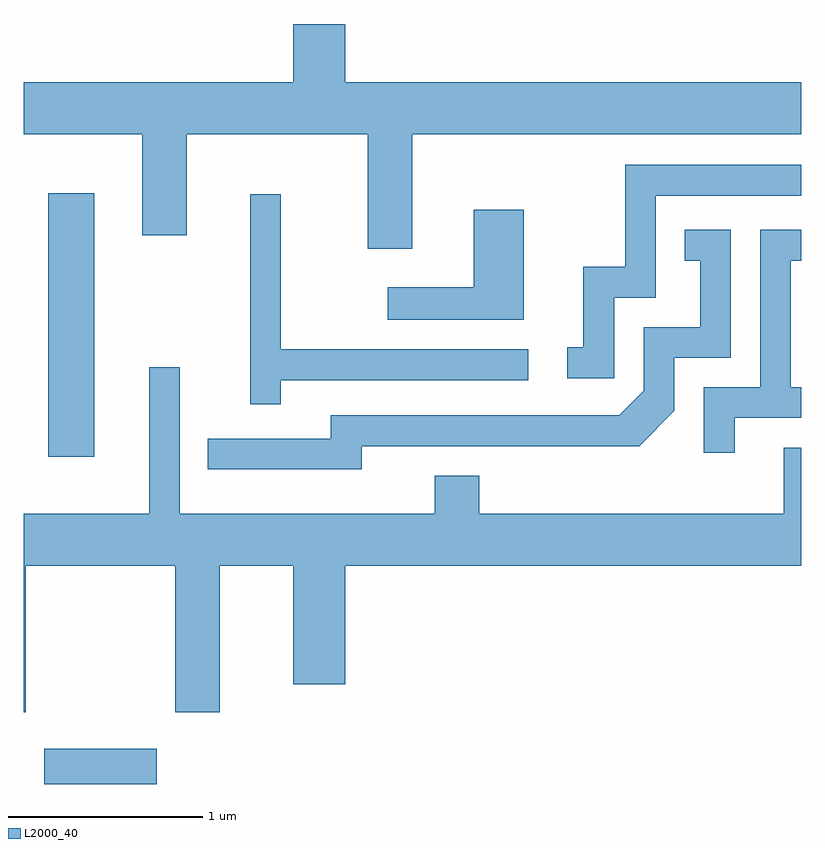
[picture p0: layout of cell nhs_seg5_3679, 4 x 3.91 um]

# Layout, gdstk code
import gdstk
lib = gdstk.Library(unit=1e-6, precision=1e-09)
def R(c, l, rs):  # rectangles x0, y0, x1, y1
    for r in rs: c.add(gdstk.rectangle(r[:2], r[2:], *l))
def P(c, l, *ps):  # polygons
    for p in ps: c.add(gdstk.Polygon(p, *l))
L2000_40 = (2000, 40)

nhs_seg5_3679 = lib.new_cell('nhs_seg5_3679')
R(nhs_seg5_3679, L2000_40, [(293.716,1500.072,294.294,1500.254), (293.736,1501.756,293.974,1503.114)])
P(nhs_seg5_3679, L2000_40, [(295.609,1503.416),(297.611,1503.416),(297.611,1503.684),(295.264,1503.684),(295.264,1503.984),(294.996,1503.984),(294.996,1503.684),(293.611,1503.684),(293.611,1503.416),(294.221,1503.416),(294.221,1502.896),(294.449,1502.896),(294.449,1503.416),(295.381,1503.416),(295.381,1502.826),(295.609,1502.826)],
  [(296.649,1502.576),(296.864,1502.576),(296.864,1503.101),(297.611,1503.101),(297.611,1503.259),(296.706,1503.259),(296.706,1502.734),(296.491,1502.734),(296.491,1502.319),(296.408,1502.319),(296.408,1502.161),(296.649,1502.161)],
  [(294.934,1502.151),(296.208,1502.151),(296.208,1502.309),(294.934,1502.309),(294.934,1503.108),(294.776,1503.108),(294.776,1502.028),(294.934,1502.028)],
  [(296.184,1503.029),(295.926,1503.029),(295.926,1502.629),(295.483,1502.629),(295.483,1502.461),(296.184,1502.461)],
  [(297.269,1501.956),(297.611,1501.956),(297.611,1502.114),(297.559,1502.114),(297.559,1502.766),(297.611,1502.766),(297.611,1502.924),(297.401,1502.924),(297.401,1502.114),(297.111,1502.114),(297.111,1501.778),(297.269,1501.778)],
  [(295.349,1501.811),(296.777,1501.811),(296.959,1501.994),(296.959,1502.266),(297.249,1502.266),(297.249,1502.924),(297.013,1502.924),(297.013,1502.766),(297.091,1502.766),(297.091,1502.424),(296.801,1502.424),(296.801,1502.097),(296.674,1501.969),(295.191,1501.969),(295.191,1501.849),(294.558,1501.849),(294.558,1501.691),(295.349,1501.691)],
  [(293.619,1501.196),(294.391,1501.196),(294.391,1500.441),(294.619,1500.441),(294.619,1501.196),(294.996,1501.196),(294.996,1500.586),(295.264,1500.586),(295.264,1501.196),(297.611,1501.196),(297.611,1501.804),(297.521,1501.804),(297.521,1501.464),(295.954,1501.464),(295.954,1501.659),(295.726,1501.659),(295.726,1501.464),(294.414,1501.464),(294.414,1502.218),(294.256,1502.218),(294.256,1501.464),(293.611,1501.464),(293.611,1500.441),(293.619,1500.441)])

lib.write_gds('nhs_seg5_3679.gds')
